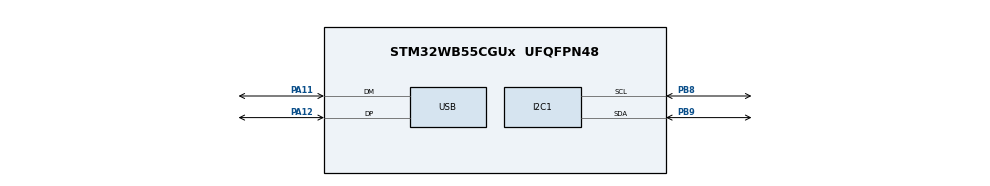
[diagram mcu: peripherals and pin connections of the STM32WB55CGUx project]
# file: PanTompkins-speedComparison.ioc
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I2C1.Timing=0x10707DBC
Mcu.Family=STM32WB
Mcu.Name=STM32WB55CGUx
Mcu.Package=UFQFPN48
NVIC.PriorityGroup=NVIC_PRIORITYGROUP_4
NVIC.USB_LP_IRQn=true\:0\:0\:false\:false\:true\:false\:true\:true
PA11.Mode=Device
PA11.Signal=USB_DM
PA12.Mode=Device
PA12.Signal=USB_DP
PB8.Mode=I2C
PB8.Signal=I2C1_SCL
PB9.Mode=I2C
PB9.Signal=I2C1_SDA
ProjectManager.HeapSize=0x200
ProjectManager.StackSize=0x400
ProjectManager.TargetToolchain=STM32CubeIDE
RCC.ADCFreq_Value=48000000
RCC.AHB2CLKDivider=RCC_SYSCLK_DIV2
RCC.AHBFreq_Value=64000000
RCC.APB1Freq_Value=64000000
RCC.APB1TimFreq_Value=64000000
RCC.APB2Freq_Value=64000000
RCC.APB2TimFreq_Value=64000000
RCC.APB3Freq_Value=16000000
RCC.Cortex2_Div=SYSTICK_CLKSOURCE_HCLK_DIV8
RCC.CortexFreq_Value=64000000
RCC.HCLKFreq_Value=64000000
RCC.HSE_VALUE=8000000
RCC.HSI48_VALUE=48000000
RCC.HSI_VALUE=16000000
RCC.LSE_VALUE=32768
RCC.PLLN=32
RCC.PLLSAI1N=24
RCC.SYSCLKFreq_VALUE=64000000
RCC.SYSCLKSource=RCC_SYSCLKSOURCE_PLLCLK
RCC.USBFreq_Value=48000000
RCC.VCOOutputFreq_Value=128000000
TIM2.Prescaler=63
USB_DEVICE.CLASS_NAME_FS=CDC
USB_DEVICE.VirtualMode=Cdc
USB_DEVICE.VirtualModeFS=Cdc_FS
VP_TIM2_VS_ClockSourceINT.Mode=Internal
VP_USB_DEVICE_VS_USB_DEVICE_CDC_FS.Mode=CDC_FS
board=custom

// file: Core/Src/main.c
/* USER CODE BEGIN Header */
/**
  ******************************************************************************
  * @file           : main.c
  * @brief          : Main program body
  ******************************************************************************
  * @attention
  *
  * Copyright (c) 2022 STMicroelectronics.
  * All rights reserved.
  *
  * This software is licensed under terms that can be found in the LICENSE file
  * in the root directory of this software component.
  * If no LICENSE file comes with this software, it is provided AS-IS.
  *
  ******************************************************************************
  */
/* USER CODE END Header */
#include "main.h"
#include "usb_device.h"

/* USER CODE BEGIN Includes */
#include <string.h>
#include <stdio.h>
#include "usbd_cdc_if.h"
#include "PanTompkins_hooman650.h"
#include "PanTompkins_rafaelmmoreira.h"
#include "PanTompkins_marower.h"

#include "ECG_data.h"
/* USER CODE END Includes */

I2C_HandleTypeDef hi2c1;

TIM_HandleTypeDef htim2;

void SystemClock_Config(void);
void PeriphCommonClock_Config(void);
static void MX_GPIO_Init(void);
static void MX_I2C1_Init(void);
static void MX_TIM2_Init(void);

/* USER CODE BEGIN 0 */

char str[250];

uint16_t findStrEnd ()
{
	uint16_t end = 0;
	while (str[end]!='\0')
	{
		end++;
		if (end == 250)
		{
			break;
		}
	}
	return end;
}

/* USER CODE END 0 */

int main(void)
{

  /* MCU Configuration--------------------------------------------------------*/

  /* Reset of all peripherals, Initializes the Flash interface and the Systick. */
  HAL_Init();

  /* Configure the system clock */
  SystemClock_Config();

/* Configure the peripherals common clocks */
  PeriphCommonClock_Config();

  /* Initialize all configured peripherals */
  MX_GPIO_Init();
  MX_USB_Device_Init();
  MX_I2C1_Init();
  MX_TIM2_Init();

  /* Infinite loop */
  /* USER CODE BEGIN WHILE */
  //Initialise all libraries

  HAL_TIM_Base_Start_IT(&htim2);
  uint32_t computationTime;
  uint16_t count = 0;
  uint16_t N = 100;
  while (1)
  {
    /* USER CODE END WHILE */

    /* USER CODE BEGIN 3 */
	PT_init();
	Rafael_init();
	arm_PT_init();
	sprintf(str,"%d iteration, %u samples, 1,000,000 ticks per second\r\n", N, ECG_samples);
	while (CDC_Transmit_FS(str, findStrEnd())!= USBD_OK){};
	//Test my implementation with ARM CMSIS-DSP
	TIM2->CNT = 0;
	for (uint16_t i = 0; i < N; i++)
	{
		count = 0;
		do
		{
			arm_PT_ST (ECG[count]);
			count++;

		}while (count < ECG_samples);
	}
	computationTime = TIM2->CNT;
	sprintf(str,"ARM CMSIS-DSP: %u ticks\r\n", computationTime);
	while (CDC_Transmit_FS(str, findStrEnd())!= USBD_OK){};
	 //Test hooman650 implementation
	TIM2->CNT = 0;
	for (uint16_t i = 0; i < N; i++)
	{
		count = 0;
		do
		{
			PT_StateMachine (ECG[count]);
			count++;

			}while (count < ECG_samples);
		}
	    computationTime = TIM2->CNT;
	 	sprintf(str,"hooman650: %u ticks\r\n", computationTime);
	 	while (CDC_Transmit_FS(str, findStrEnd())!= USBD_OK){};

	 //Test Rafael implementation
	 TIM2->CNT = 0;
	 for (uint16_t i = 0; i < N; i++)
	 {
	 	count = 0;
		do
		{
			Rafael_PanTompkins (ECG[count]);
			count++;

			}while (count < ECG_samples);
		}
		computationTime = TIM2->CNT;
		sprintf(str,"Rafael: %u ticks\r\n", computationTime);
		while (CDC_Transmit_FS(str, findStrEnd())!= USBD_OK){};

  	 }
  /* USER CODE END 3 */
}

void SystemClock_Config(void)
{
  RCC_OscInitTypeDef RCC_OscInitStruct = {0};
  RCC_ClkInitTypeDef RCC_ClkInitStruct = {0};

  /** Configure the main internal regulator output voltage
  */
  __HAL_PWR_VOLTAGESCALING_CONFIG(PWR_REGULATOR_VOLTAGE_SCALE1);

  /** Initializes the RCC Oscillators according to the specified parameters
  * in the RCC_OscInitTypeDef structure.
  */
  RCC_OscInitStruct.OscillatorType = RCC_OSCILLATORTYPE_HSI|RCC_OSCILLATORTYPE_LSE
                              |RCC_OSCILLATORTYPE_MSI;
  RCC_OscInitStruct.LSEState = RCC_LSE_OFF;
  RCC_OscInitStruct.HSIState = RCC_HSI_ON;
  RCC_OscInitStruct.MSIState = RCC_MSI_ON;
  RCC_OscInitStruct.HSICalibrationValue = RCC_HSICALIBRATION_DEFAULT;
  RCC_OscInitStruct.MSICalibrationValue = RCC_MSICALIBRATION_DEFAULT;
  RCC_OscInitStruct.MSIClockRange = RCC_MSIRANGE_6;
  RCC_OscInitStruct.PLL.PLLState = RCC_PLL_ON;
  RCC_OscInitStruct.PLL.PLLSource = RCC_PLLSOURCE_MSI;
  RCC_OscInitStruct.PLL.PLLM = RCC_PLLM_DIV1;
  RCC_OscInitStruct.PLL.PLLN = 32;
  RCC_OscInitStruct.PLL.PLLP = RCC_PLLP_DIV2;
  RCC_OscInitStruct.PLL.PLLR = RCC_PLLR_DIV2;
  RCC_OscInitStruct.PLL.PLLQ = RCC_PLLQ_DIV2;
  if (HAL_RCC_OscConfig(&RCC_OscInitStruct) != HAL_OK)
  {
    Error_Handler();
  }

  /** Configure the SYSCLKSource, HCLK, PCLK1 and PCLK2 clocks dividers
  */
  RCC_ClkInitStruct.ClockType = RCC_CLOCKTYPE_HCLK4|RCC_CLOCKTYPE_HCLK2
                              |RCC_CLOCKTYPE_HCLK|RCC_CLOCKTYPE_SYSCLK
                              |RCC_CLOCKTYPE_PCLK1|RCC_CLOCKTYPE_PCLK2;
  RCC_ClkInitStruct.SYSCLKSource = RCC_SYSCLKSOURCE_PLLCLK;
  RCC_ClkInitStruct.AHBCLKDivider = RCC_SYSCLK_DIV1;
  RCC_ClkInitStruct.APB1CLKDivider = RCC_HCLK_DIV1;
  RCC_ClkInitStruct.APB2CLKDivider = RCC_HCLK_DIV1;
  RCC_ClkInitStruct.AHBCLK2Divider = RCC_SYSCLK_DIV2;
  RCC_ClkInitStruct.AHBCLK4Divider = RCC_SYSCLK_DIV1;

  if (HAL_RCC_ClockConfig(&RCC_ClkInitStruct, FLASH_LATENCY_3) != HAL_OK)
  {
    Error_Handler();
  }

  /** Enable MSI Auto calibration
  */
  HAL_RCCEx_EnableMSIPLLMode();
}

void PeriphCommonClock_Config(void)
{
  RCC_PeriphCLKInitTypeDef PeriphClkInitStruct = {0};

  /** Initializes the peripherals clock
  */
  PeriphClkInitStruct.PeriphClockSelection = RCC_PERIPHCLK_SMPS;
  PeriphClkInitStruct.SmpsClockSelection = RCC_SMPSCLKSOURCE_HSI;
  PeriphClkInitStruct.SmpsDivSelection = RCC_SMPSCLKDIV_RANGE1;

  if (HAL_RCCEx_PeriphCLKConfig(&PeriphClkInitStruct) != HAL_OK)
  {
    Error_Handler();
  }
}

static void MX_I2C1_Init(void)
{

  hi2c1.Instance = I2C1;
  hi2c1.Init.Timing = 0x10707DBC;
  hi2c1.Init.OwnAddress1 = 0;
  hi2c1.Init.AddressingMode = I2C_ADDRESSINGMODE_7BIT;
  hi2c1.Init.DualAddressMode = I2C_DUALADDRESS_DISABLE;
  hi2c1.Init.OwnAddress2 = 0;
  hi2c1.Init.OwnAddress2Masks = I2C_OA2_NOMASK;
  hi2c1.Init.GeneralCallMode = I2C_GENERALCALL_DISABLE;
  hi2c1.Init.NoStretchMode = I2C_NOSTRETCH_DISABLE;
  if (HAL_I2C_Init(&hi2c1) != HAL_OK)
  {
    Error_Handler();
  }

  /** Configure Analogue filter
  */
  if (HAL_I2CEx_ConfigAnalogFilter(&hi2c1, I2C_ANALOGFILTER_ENABLE) != HAL_OK)
  {
    Error_Handler();
  }

  /** Configure Digital filter
  */
  if (HAL_I2CEx_ConfigDigitalFilter(&hi2c1, 0) != HAL_OK)
  {
    Error_Handler();
  }

}

static void MX_TIM2_Init(void)
{

  TIM_ClockConfigTypeDef sClockSourceConfig = {0};
  TIM_MasterConfigTypeDef sMasterConfig = {0};

  htim2.Instance = TIM2;
  htim2.Init.Prescaler = 63;
  htim2.Init.CounterMode = TIM_COUNTERMODE_UP;
  htim2.Init.Period = 4294967295;
  htim2.Init.ClockDivision = TIM_CLOCKDIVISION_DIV1;
  htim2.Init.AutoReloadPreload = TIM_AUTORELOAD_PRELOAD_DISABLE;
  if (HAL_TIM_Base_Init(&htim2) != HAL_OK)
  {
    Error_Handler();
  }
  sClockSourceConfig.ClockSource = TIM_CLOCKSOURCE_INTERNAL;
  if (HAL_TIM_ConfigClockSource(&htim2, &sClockSourceConfig) != HAL_OK)
  {
    Error_Handler();
  }
  sMasterConfig.MasterOutputTrigger = TIM_TRGO_RESET;
  sMasterConfig.MasterSlaveMode = TIM_MASTERSLAVEMODE_DISABLE;
  if (HAL_TIMEx_MasterConfigSynchronization(&htim2, &sMasterConfig) != HAL_OK)
  {
    Error_Handler();
  }

}

static void MX_GPIO_Init(void)
{

  /* GPIO Ports Clock Enable */
  __HAL_RCC_GPIOB_CLK_ENABLE();
  __HAL_RCC_GPIOA_CLK_ENABLE();

}

void Error_Handler(void)
{
  __disable_irq();
  while (1)
  {
  }
}
